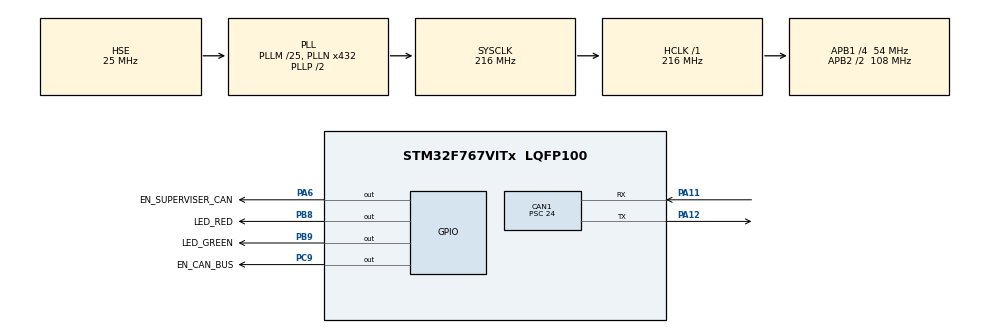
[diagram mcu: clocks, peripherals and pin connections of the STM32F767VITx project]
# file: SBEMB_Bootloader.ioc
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CAN1.ABOM=ENABLE
CAN1.BS1=CAN_BS1_4TQ
CAN1.BS2=CAN_BS2_4TQ
CAN1.CalculateTimeQuantum=444.44444444444446
CAN1.NART=DISABLE
CAN1.Prescaler=24
CAN1.SJW=CAN_SJW_3TQ
Mcu.Family=STM32F7
Mcu.Name=STM32F767VITx
Mcu.Package=LQFP100
NVIC.CAN1_RX0_IRQn=true\:1\:0\:true\:false\:true\:true\:true
NVIC.CAN1_SCE_IRQn=true\:1\:0\:true\:false\:true\:true\:true
NVIC.CAN1_TX_IRQn=true\:1\:0\:true\:false\:true\:true\:true
NVIC.PriorityGroup=NVIC_PRIORITYGROUP_4
PA11.Mode=Master
PA11.Signal=CAN1_RX
PA12.Mode=Master
PA12.Signal=CAN1_TX
PA13.Signal=SYS_JTMS-SWDIO
PA14.Signal=SYS_JTCK-SWCLK
PA6.GPIO_Label=EN_SUPERVISER_CAN
PA6.Signal=GPIO_Output
PB3.Signal=SYS_JTDO-SWO
PB8.GPIO_Label=LED_RED
PB8.Signal=GPIO_Output
PB9.GPIO_Label=LED_GREEN
PB9.Signal=GPIO_Output
PC9.GPIO_Label=EN_CAN_BUS
PC9.Signal=GPIO_Output
PH0/OSC_IN.Mode=HSE-External-Oscillator
PH0/OSC_IN.Signal=RCC_OSC_IN
PH1/OSC_OUT.Mode=HSE-External-Oscillator
PH1/OSC_OUT.Signal=RCC_OSC_OUT
ProjectManager.HeapSize=0x200
ProjectManager.StackSize=0x400
ProjectManager.TargetToolchain=STM32CubeIDE
RCC.AHBFreq_Value=216000000
RCC.APB1CLKDivider=RCC_HCLK_DIV4
RCC.APB1Freq_Value=54000000
RCC.APB1TimFreq_Value=108000000
RCC.APB2CLKDivider=RCC_HCLK_DIV2
RCC.APB2Freq_Value=108000000
RCC.APB2TimFreq_Value=216000000
RCC.CortexFreq_Value=216000000
RCC.HCLKFreq_Value=216000000
RCC.HSE_VALUE=25000000
RCC.HSI_VALUE=16000000
RCC.LSE_VALUE=32768
RCC.PLLM=25
RCC.PLLN=432
RCC.PLLSourceVirtual=RCC_PLLSOURCE_HSE
RCC.RTCClockSelection=RCC_RTCCLKSOURCE_LSE
RCC.SYSCLKFreq_VALUE=216000000
RCC.SYSCLKSource=RCC_SYSCLKSOURCE_PLLCLK
RCC.USBFreq_Value=216000000
RCC.VCOOutputFreq_Value=432000000
board=MasterBms48V

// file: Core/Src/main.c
/* USER CODE BEGIN Header */
/**
  ******************************************************************************
  * @file           : main.c
  * @brief          : Main program body
  ******************************************************************************
  * @attention
  *
  * <h2><center>&copy; Copyright (c) 2020 STMicroelectronics.
  * All rights reserved.</center></h2>
  *
  * This software component is licensed by ST under BSD 3-Clause license,
  * the "License"; You may not use this file except in compliance with the
  * License. You may obtain a copy of the License at:
  *                        opensource.org/licenses/BSD-3-Clause
  *
  ******************************************************************************
  */
/* USER CODE END Header */

#include "main.h"

/* USER CODE BEGIN Includes */
#include "global.h"
#include "flash.h"
#include "bootloader.h"
/* USER CODE END Includes */

/* USER CODE BEGIN PD */
#define APP_MEM_PRESENT 	((uint64_t)0xDEADBEEFCAFEBABE)
#define APP_MEM_PRESENT_ADD ((uint32_t)0x08008000)
/* USER CODE END PD */

CAN_HandleTypeDef hcan1;

void SystemClock_Config(void);
static void MX_GPIO_Init(void);
static void MX_CAN1_Init(void);

int main(void)
{
  /* USER CODE BEGIN 1 */
	static uns32 _u32_Timer = 0;

	//uint64_t MemAppPresent = APP_MEM_PRESENT;

	if(*(uint64_t*)APP_MEM_PRESENT_ADD == (uint64_t)APP_MEM_PRESENT)
	{//App present, switch to APP
	  flash_jump_to_app();
	}

  /* USER CODE END 1 */

  /* MCU Configuration--------------------------------------------------------*/

  /* Reset of all peripherals, Initializes the Flash interface and the Systick. */
  HAL_Init();

  /* Configure the system clock */
  SystemClock_Config();

  /* Initialize all configured peripherals */
  MX_GPIO_Init();
  MX_CAN1_Init();
  /* USER CODE BEGIN 2 */
  Bootloader_Init();

  /* USER CODE END 2 */

  /* Infinite loop */
  /* USER CODE BEGIN WHILE */
  while (1)
  {
	if(UTILS_Tick_Get(_u32_Timer) > 100 _MS)
	{
		_u32_Timer = UTILS_Tick_Get(0);
		HAL_GPIO_TogglePin(LED_GREEN_GPIO_Port, LED_GREEN_Pin);
	}
    /* USER CODE END WHILE */

    /* USER CODE BEGIN 3 */
	Bootloader_Process();
  }
  /* USER CODE END 3 */
}

void SystemClock_Config(void)
{
  RCC_OscInitTypeDef RCC_OscInitStruct = {0};
  RCC_ClkInitTypeDef RCC_ClkInitStruct = {0};

  /** Configure the main internal regulator output voltage
  */
  __HAL_RCC_PWR_CLK_ENABLE();
  __HAL_PWR_VOLTAGESCALING_CONFIG(PWR_REGULATOR_VOLTAGE_SCALE1);
  /** Initializes the CPU, AHB and APB busses clocks
  */
  RCC_OscInitStruct.OscillatorType = RCC_OSCILLATORTYPE_HSE;
  RCC_OscInitStruct.HSEState = RCC_HSE_ON;
  RCC_OscInitStruct.PLL.PLLState = RCC_PLL_ON;
  RCC_OscInitStruct.PLL.PLLSource = RCC_PLLSOURCE_HSE;
  RCC_OscInitStruct.PLL.PLLM = 25;
  RCC_OscInitStruct.PLL.PLLN = 432;
  RCC_OscInitStruct.PLL.PLLP = RCC_PLLP_DIV2;
  RCC_OscInitStruct.PLL.PLLQ = 2;
  if (HAL_RCC_OscConfig(&RCC_OscInitStruct) != HAL_OK)
  {
    Error_Handler();
  }
  /** Activate the Over-Drive mode
  */
  if (HAL_PWREx_EnableOverDrive() != HAL_OK)
  {
    Error_Handler();
  }
  /** Initializes the CPU, AHB and APB busses clocks
  */
  RCC_ClkInitStruct.ClockType = RCC_CLOCKTYPE_HCLK|RCC_CLOCKTYPE_SYSCLK
                              |RCC_CLOCKTYPE_PCLK1|RCC_CLOCKTYPE_PCLK2;
  RCC_ClkInitStruct.SYSCLKSource = RCC_SYSCLKSOURCE_PLLCLK;
  RCC_ClkInitStruct.AHBCLKDivider = RCC_SYSCLK_DIV1;
  RCC_ClkInitStruct.APB1CLKDivider = RCC_HCLK_DIV4;
  RCC_ClkInitStruct.APB2CLKDivider = RCC_HCLK_DIV2;

  if (HAL_RCC_ClockConfig(&RCC_ClkInitStruct, FLASH_LATENCY_7) != HAL_OK)
  {
    Error_Handler();
  }
}

static void MX_CAN1_Init(void)
{

  hcan1.Instance = CAN1;
  hcan1.Init.Prescaler = 24;
  hcan1.Init.Mode = CAN_MODE_NORMAL;
  hcan1.Init.SyncJumpWidth = CAN_SJW_3TQ;
  hcan1.Init.TimeSeg1 = CAN_BS1_4TQ;
  hcan1.Init.TimeSeg2 = CAN_BS2_4TQ;
  hcan1.Init.TimeTriggeredMode = DISABLE;
  hcan1.Init.AutoBusOff = ENABLE;
  hcan1.Init.AutoWakeUp = DISABLE;
  hcan1.Init.AutoRetransmission = DISABLE;
  hcan1.Init.ReceiveFifoLocked = DISABLE;
  hcan1.Init.TransmitFifoPriority = DISABLE;
  if (HAL_CAN_Init(&hcan1) != HAL_OK)
  {
    Error_Handler();
  }

}

static void MX_GPIO_Init(void)
{
  GPIO_InitTypeDef GPIO_InitStruct = {0};

  /* GPIO Ports Clock Enable */
  __HAL_RCC_GPIOH_CLK_ENABLE();
  __HAL_RCC_GPIOA_CLK_ENABLE();
  __HAL_RCC_GPIOC_CLK_ENABLE();
  __HAL_RCC_GPIOB_CLK_ENABLE();

  /*Configure GPIO pin Output Level */
  HAL_GPIO_WritePin(EN_SUPERVISER_CAN_GPIO_Port, EN_SUPERVISER_CAN_Pin, GPIO_PIN_RESET);

  /*Configure GPIO pin Output Level */
  HAL_GPIO_WritePin(EN_CAN_BUS_GPIO_Port, EN_CAN_BUS_Pin, GPIO_PIN_RESET);

  /*Configure GPIO pin Output Level */
  HAL_GPIO_WritePin(GPIOB, LED_RED_Pin|LED_GREEN_Pin, GPIO_PIN_RESET);

  /*Configure GPIO pin : EN_SUPERVISER_CAN_Pin */
  GPIO_InitStruct.Pin = EN_SUPERVISER_CAN_Pin;
  GPIO_InitStruct.Mode = GPIO_MODE_OUTPUT_PP;
  GPIO_InitStruct.Pull = GPIO_NOPULL;
  GPIO_InitStruct.Speed = GPIO_SPEED_FREQ_LOW;
  HAL_GPIO_Init(EN_SUPERVISER_CAN_GPIO_Port, &GPIO_InitStruct);

  /*Configure GPIO pin : EN_CAN_BUS_Pin */
  GPIO_InitStruct.Pin = EN_CAN_BUS_Pin;
  GPIO_InitStruct.Mode = GPIO_MODE_OUTPUT_PP;
  GPIO_InitStruct.Pull = GPIO_NOPULL;
  GPIO_InitStruct.Speed = GPIO_SPEED_FREQ_LOW;
  HAL_GPIO_Init(EN_CAN_BUS_GPIO_Port, &GPIO_InitStruct);

  /*Configure GPIO pins : LED_RED_Pin LED_GREEN_Pin */
  GPIO_InitStruct.Pin = LED_RED_Pin|LED_GREEN_Pin;
  GPIO_InitStruct.Mode = GPIO_MODE_OUTPUT_PP;
  GPIO_InitStruct.Pull = GPIO_NOPULL;
  GPIO_InitStruct.Speed = GPIO_SPEED_FREQ_LOW;
  HAL_GPIO_Init(GPIOB, &GPIO_InitStruct);

}

/* USER CODE BEGIN 4 */
void _Error_Handler(char *file, int line)
{
	HAL_GPIO_WritePin(LED_RED_GPIO_Port, LED_RED_Pin, GPIO_PIN_SET);

}

/* USER CODE END 4 */

void Error_Handler(void)
{
  /* USER CODE BEGIN Error_Handler_Debug */
  /* User can add his own implementation to report the HAL error return state */
	HAL_GPIO_WritePin(LED_RED_GPIO_Port, LED_RED_Pin, GPIO_PIN_SET);
  /* USER CODE END Error_Handler_Debug */
}

#ifdef  USE_FULL_ASSERT
/**
  * @brief  Reports the name of the source file and the source line number
  *         where the assert_param error has occurred.
  * @param  file: pointer to the source file name
  * @param  line: assert_param error line source number
  * @retval None
  */
void assert_failed(uint8_t *file, uint32_t line)
{
  /* USER CODE BEGIN 6 */
  /* User can add his own implementation to report the file name and line number,
     tex: printf("Wrong parameters value: file %s on line %d\r\n", file, line) */
	HAL_GPIO_WritePin(LED_RED_GPIO_Port, LED_RED_Pin, GPIO_PIN_SET);
  /* USER CODE END 6 */
}
#endif /* USE_FULL_ASSERT */

/************************ (C) COPYRIGHT STMicroelectronics *****END OF FILE****/
